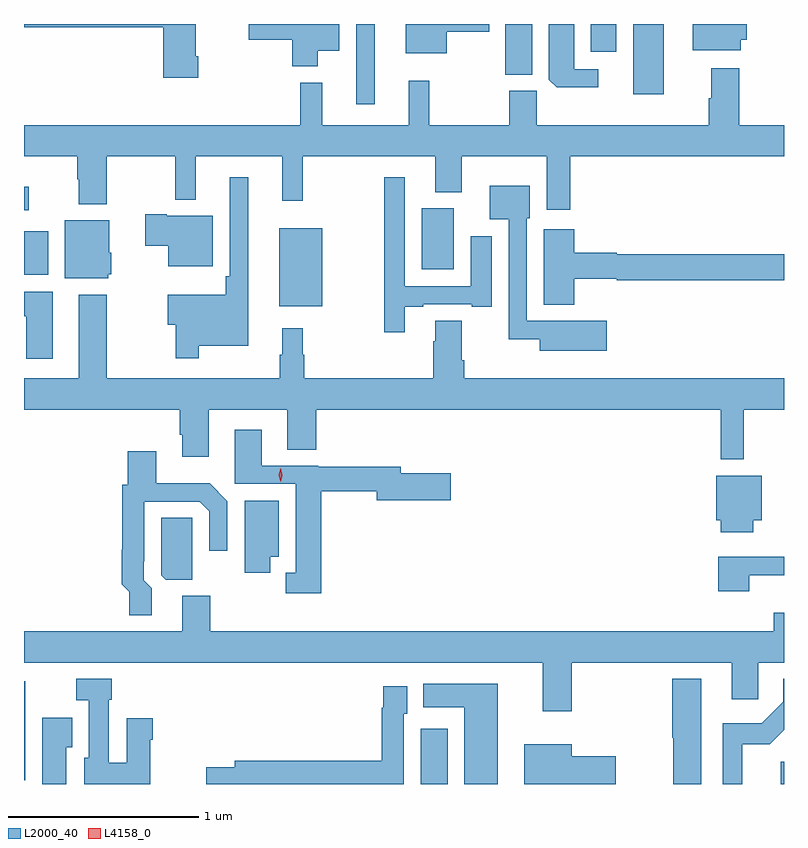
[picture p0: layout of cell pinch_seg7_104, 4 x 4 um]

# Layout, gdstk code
import gdstk
lib = gdstk.Library(unit=1e-6, precision=1e-09)
def R(c, l, rs):  # rectangles x0, y0, x1, y1
    for r in rs: c.add(gdstk.rectangle(r[:2], r[2:], *l))
def P(c, l, *ps):  # polygons
    for p in ps: c.add(gdstk.Polygon(p, *l))
L2000_40 = (2000, 40)
L4158_0 = (4158, 0)

pinch_seg7_104 = lib.new_cell('pinch_seg7_104')
R(pinch_seg7_104, L2000_40, [(891.071,999.977,891.214,1000.267), (892.967,999.977,892.984,1000.095), (888.984,999.996,888.991,1000.519), (890.327,1002.491,890.554,1002.901), (888.984,1002.656,889.111,1002.886), (891.077,1002.686,891.247,1003.006), (888.984,1002.998,889.009,1003.12), (890.733,1003.554,890.83,1003.977), (892.19,1003.608,892.351,1003.977), (891.518,1003.711,891.658,1003.977), (891.968,1003.83,892.102,1003.977)])
P(pinch_seg7_104, L2000_40, [(890.53,1003.835),(890.644,1003.835),(890.644,1003.977),(890.166,1003.977),(890.166,1003.894),(890.396,1003.894),(890.396,1003.754),(890.53,1003.754)],
  [(892.006,1003.74),(891.88,1003.74),(891.88,1003.977),(891.746,1003.977),(891.746,1003.684),(891.787,1003.643),(892.006,1003.643)],
  [(891.208,1003.937),(891.433,1003.937),(891.433,1003.977),(890.993,1003.977),(890.993,1003.823),(891.208,1003.823)],
  [(889.901,1003.807),(889.888,1003.807),(889.888,1003.977),(888.984,1003.977),(888.984,1003.96),(889.718,1003.96),(889.718,1003.695),(889.901,1003.695)],
  [(892.756,1003.893),(892.787,1003.893),(892.787,1003.977),(892.505,1003.977),(892.505,1003.838),(892.756,1003.838)],
  [(891.538,1003.626),(891.538,1003.444),(891.118,1003.444),(891.118,1003.678),(891.008,1003.678),(891.008,1003.444),(890.555,1003.444),(890.555,1003.669),(890.437,1003.669),(890.437,1003.444),(888.984,1003.444),(888.984,1003.28),(889.264,1003.28),(889.264,1003.16),(889.271,1003.16),(889.271,1003.028),(889.419,1003.028),(889.419,1003.28),(889.779,1003.28),(889.779,1003.052),(889.889,1003.052),(889.889,1003.28),(890.342,1003.28),(890.342,1003.047),(890.452,1003.047),(890.452,1003.28),(891.149,1003.28),(891.149,1003.091),(891.289,1003.091),(891.289,1003.28),(891.734,1003.28),(891.734,1002.999),(891.86,1002.999),(891.86,1003.28),(892.984,1003.28),(892.984,1003.444),(892.749,1003.444),(892.749,1003.744),(892.601,1003.744),(892.601,1003.586),(892.589,1003.586),(892.589,1003.444),(891.683,1003.444),(891.683,1003.626)],
  [(890.989,1002.489),(891.085,1002.489),(891.085,1002.501),(891.341,1002.501),(891.341,1002.489),(891.445,1002.489),(891.445,1002.859),(891.335,1002.859),(891.335,1002.597),(890.988,1002.597),(890.988,1003.171),(890.88,1003.171),(890.88,1002.354),(890.989,1002.354)],
  [(889.903,1002.284),(890.164,1002.284),(890.164,1003.171),(890.067,1003.171),(890.067,1002.649),(890.047,1002.649),(890.047,1002.553),(889.74,1002.553),(889.74,1002.395),(889.782,1002.395),(889.782,1002.219),(889.903,1002.219)],
  [(892.051,1002.415),(891.833,1002.415),(891.833,1002.414),(891.63,1002.414),(891.63,1002.954),(891.646,1002.954),(891.646,1003.126),(891.434,1003.126),(891.434,1002.95),(891.534,1002.95),(891.534,1002.317),(891.698,1002.317),(891.698,1002.257),(892.051,1002.257)],
  [(889.978,1002.967),(889.735,1002.967),(889.735,1002.975),(889.623,1002.975),(889.623,1002.809),(889.742,1002.809),(889.742,1002.701),(889.978,1002.701)],
  [(889.428,1002.66),(889.444,1002.66),(889.444,1002.774),(889.432,1002.774),(889.432,1002.943),(889.199,1002.943),(889.199,1002.638),(889.428,1002.638)],
  [(891.881,1002.635),(892.104,1002.635),(892.104,1002.628),(892.984,1002.628),(892.984,1002.764),(892.104,1002.764),(892.104,1002.772),(891.881,1002.772),(891.881,1002.898),(891.719,1002.898),(891.719,1002.5),(891.881,1002.5)],
  [(889.135,1002.568),(888.984,1002.568),(888.984,1002.44),(888.995,1002.44),(888.995,1002.216),(889.135,1002.216)],
  [(892.772,1001.948),(892.984,1001.948),(892.984,1002.112),(891.302,1002.112),(891.302,1002.208),(891.289,1002.208),(891.289,1002.416),(891.149,1002.416),(891.149,1002.308),(891.137,1002.308),(891.137,1002.112),(890.459,1002.112),(890.459,1002.236),(890.452,1002.236),(890.452,1002.376),(890.342,1002.376),(890.342,1002.236),(890.331,1002.236),(890.331,1002.112),(889.419,1002.112),(889.419,1002.553),(889.271,1002.553),(889.271,1002.112),(888.984,1002.112),(888.984,1001.948),(889.805,1001.948),(889.805,1001.815),(889.817,1001.815),(889.817,1001.7),(889.957,1001.7),(889.957,1001.948),(890.369,1001.948),(890.369,1001.737),(890.522,1001.737),(890.522,1001.948),(892.651,1001.948),(892.651,1001.685),(892.772,1001.685)],
  [(890.549,1001.518),(890.84,1001.518),(890.84,1001.471),(891.229,1001.471),(891.229,1001.613),(890.968,1001.613),(890.968,1001.647),(890.532,1001.647),(890.532,1001.652),(890.236,1001.652),(890.236,1001.842),(890.093,1001.842),(890.093,1001.556),(890.414,1001.556),(890.414,1001.09),(890.362,1001.09),(890.362,1000.98),(890.549,1000.98)],
  [(889.657,1001.006),(889.614,1001.049),(889.614,1001.149),(889.617,1001.149),(889.617,1001.463),(889.908,1001.463),(889.959,1001.412),(889.959,1001.205),(890.055,1001.205),(890.055,1001.466),(889.961,1001.56),(889.681,1001.56),(889.681,1001.728),(889.529,1001.728),(889.529,1001.553),(889.501,1001.553),(889.501,1001.21),(889.499,1001.21),(889.499,1001.028),(889.537,1000.989),(889.537,1000.866),(889.657,1000.866)],
  [(892.822,1001.366),(892.867,1001.366),(892.867,1001.599),(892.628,1001.599),(892.628,1001.366),(892.652,1001.366),(892.652,1001.303),(892.822,1001.303)],
  [(890.281,1001.174),(890.326,1001.174),(890.326,1001.467),(890.147,1001.467),(890.147,1001.09),(890.281,1001.09)],
  [(889.87,1001.267),(889.869,1001.267),(889.869,1001.378),(889.707,1001.378),(889.707,1001.076),(889.731,1001.053),(889.87,1001.053)],
  [(892.802,1001.075),(892.984,1001.075),(892.984,1001.172),(892.885,1001.172),(892.885,1001.173),(892.637,1001.173),(892.637,1000.992),(892.802,1000.992)],
  [(891.866,1000.616),(892.709,1000.616),(892.709,1000.422),(892.848,1000.422),(892.848,1000.616),(892.984,1000.616),(892.984,1000.879),(892.931,1000.879),(892.931,1000.78),(889.965,1000.78),(889.965,1000.968),(889.817,1000.968),(889.817,1000.78),(888.984,1000.78),(888.984,1000.616),(891.713,1000.616),(891.713,1000.359),(891.866,1000.359)],
  [(892.549,1000.531),(892.397,1000.531),(892.397,1000.221),(892.402,1000.221),(892.402,999.977),(892.549,999.977)],
  [(889.648,1000.211),(889.661,1000.211),(889.661,1000.324),(889.526,1000.324),(889.526,1000.088),(889.429,1000.088),(889.429,1000.421),(889.447,1000.421),(889.447,1000.531),(889.26,1000.531),(889.26,1000.418),(889.325,1000.418),(889.325,1000.116),(889.301,1000.116),(889.301,999.977),(889.648,999.977)],
  [(892.765,1000.187),(892.909,1000.187),(892.984,1000.262),(892.984,1000.531),(892.98,1000.531),(892.98,1000.41),(892.866,1000.296),(892.661,1000.296),(892.661,999.977),(892.765,999.977)],
  [(891.478,1000.504),(891.086,1000.504),(891.086,1000.382),(891.302,1000.382),(891.302,999.977),(891.478,999.977)],
  [(890.982,1000.347),(891.001,1000.347),(891.001,1000.492),(890.874,1000.492),(890.874,1000.379),(890.866,1000.379),(890.866,1000.1),(890.093,1000.1),(890.093,1000.064),(889.944,1000.064),(889.944,999.977),(890.982,999.977)],
  [(889.207,1000.171),(889.237,1000.171),(889.237,1000.327),(889.079,1000.327),(889.079,999.977),(889.207,999.977)],
  [(892.099,1000.124),(891.868,1000.124),(891.868,1000.186),(891.617,1000.186),(891.617,999.977),(892.099,999.977)])
P(pinch_seg7_104, L4158_0, [(890.334,1001.567),(890.334,1001.568),(890.324,1001.603),(890.334,1001.639),(890.334,1001.639),(890.334,1001.639),(890.344,1001.603),(890.334,1001.568)])

lib.write_gds('pinch_seg7_104.gds')
